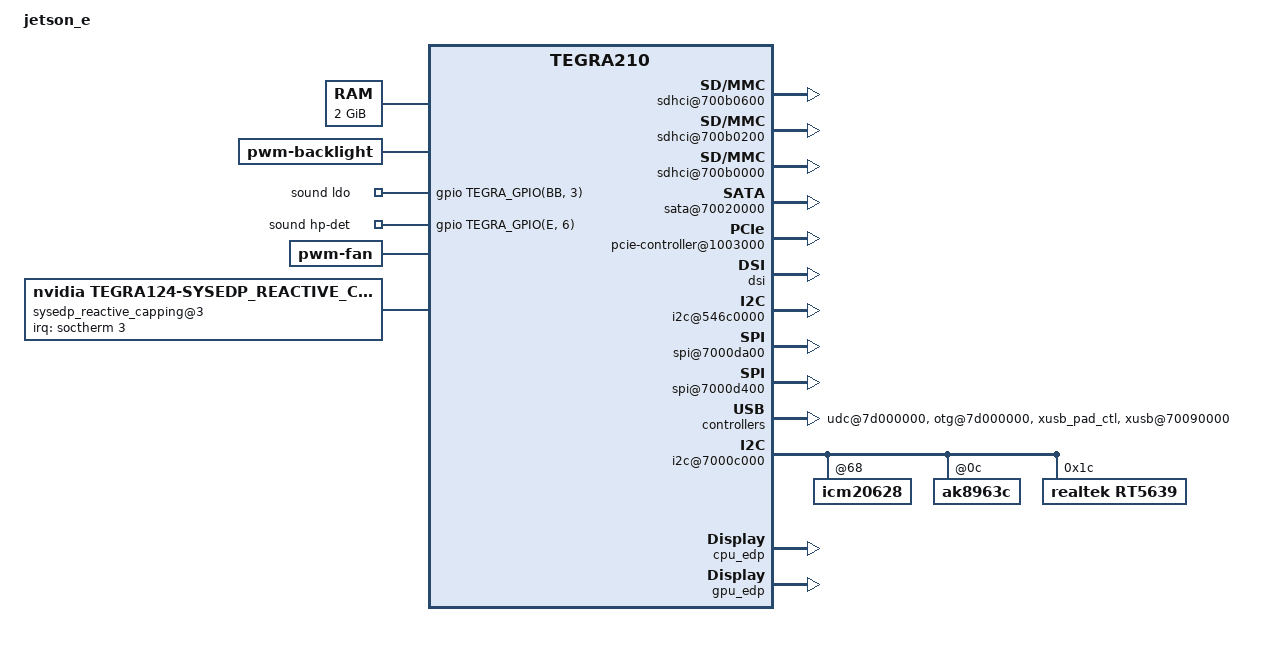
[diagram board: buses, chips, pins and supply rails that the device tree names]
/*
 * arch/arm64/boot/dts/tegra210-jetson-e-base-p2595-0000-a00.dts
 *
 * Copyright (c) 2014-2016, NVIDIA CORPORATION.  All rights reserved.
 *
 * This program is free software; you can redistribute it and/or modify
 * it under the terms of the GNU General Public License as published by
 * the Free Software Foundation; version 2 of the License.
 *
 * This program is distributed in the hope that it will be useful, but WITHOUT
 * ANY WARRANTY; without even the implied warranty of MERCHANTABILITY or
 * FITNESS FOR A PARTICULAR PURPOSE.  See the GNU General Public License for
 * more details.
 *
 */

/dts-v1/;

/memreserve/ 0x80000000 0x00020000;

#include "tegra210-jetson-common.dtsi"
#include "tegra210-platforms/tegra210-jetson-e-power-tree-p2530-0930-e03.dtsi"
#include "tegra210-platforms/tegra210-jetson-e-gpio-p2530-0930-e03.dtsi"
#include "tegra210-platforms/tegra210-pinmux-drive-sdmmc-common.dtsi"
#include "tegra210-platforms/tegra210-jetson-e-pinmux-p2530-0930-e03.dtsi"
#include "tegra210-platforms/tegra210-jetson-e-prods.dtsi"
#include "tegra210-platforms/tegra210-comms-p2530-0930.dtsi"
#include "tegra210-platforms/tegra210-jetson-e-camera-p2530-0930-e03.dtsi"
#include "tegra210-platforms/tegra210-pwm-fan-p2530-0930.dtsi"
#include "panel-s-wqxga-10-1.dtsi"
#include "panel-a-wuxga-8-0.dtsi"
#include "tegra210-platforms/tegra210-ers-hdmi-e2190-1100-a00.dtsi"
#include "tegra210-platforms/tegra210-loki-e-sensor-p2530-0032-e00.dtsi"
#include "tegra210-platforms/tegra210-sdhci.dtsi"
#include "tegra210-platforms/tegra210-p2530-common.dtsi"
#include "tegra210-platforms/tegra210-thermal-fan-est-p2530-0930.dtsi"
#include "tegra210-platforms/tegra210-keys-p2530-0930.dtsi"
#include "tegra210-platforms/tegra210-jetson-e-powermon-p2595-0000-a00.dtsi"
#include <dt-bindings/iio/meter/ina3221x.h>
#include "tegra210-platforms/tegra210-foster-e-extcon-p2530-0930-e01.dtsi"
#include "tegra210-platforms/tegra210-jetson-e-emc-p2530-e01.dtsi"
#include "tegra210-platforms/tegra210-edp.dtsi"
#include "tegra210-platforms/tegra210-sysedp.dtsi"
#include "tegra210-platforms/tegra210-audio.dtsi"
#include "tegra210-platforms/tegra210-thermal-nct72-p2530.dtsi"
#include "tegra210-platforms/tegra210-thermal-Tboard-Tdiode.dtsi"
#include "tegra210-platforms/tegra210-jetson-e-powermon-p2530-0930-e03.dtsi"
#include "tegra210-platforms/tegra210-therm-est.dtsi"
#include "tegra210-platforms/tegra210-jetson-cpufreq.dtsi"

/ {
	model = "jetson_e";
	compatible = "nvidia,jetson-e", "nvidia,tegra210";
	nvidia,dtsfilename = __FILE__;

	nvidia,boardids = "2595:0000:A0";
	nvidia,proc-boardid = "2595:0000:A0";
	nvidia,pmu-boardid = "2595:0000:A0";
	#address-cells = <2>;
	#size-cells = <2>;

	chosen {
	};

	pmc@7000e400 {
		nvidia,invert-interrupt;
		io-pad-defaults {
			audio-hv {
				nvidia,io-pad-init-voltage = <IO_PAD_VOLTAGE_1_8V>;
			};

			spi-hv {
				nvidia,io-pad-init-voltage = <IO_PAD_VOLTAGE_1_8V>;
			};

			sdmmc3 {
				nvidia,deep-power-down-enable;
				nvidia,enable-dynamic-pad-voltage;
			};
			sdmmc1 {
				nvidia,enable-dynamic-pad-voltage;
			};
		};
	};

	memory@80000000 {
		device_type = "memory";
		reg = < 0x0 0x80000000 0x0 0x80000000 >;
	};

	sdhci@700b0600 { /* SDMMC4 for EMMC */
		uhs-mask = <0x0>;
		built-in;
		power-off-rail;
		status = "okay";
	};

	sdhci@700b0200 { /* SDMMC2 for Wifi */
		uhs-mask = <0x8>;
		power-off-rail;
		status = "okay";
	};

	sdhci@700b0000 { /* SDMMC1 for uSD card */
		uhs-mask = <0xc>;
		power-off-rail;
		nvidia,update-pinctrl-settings;
		pinctrl-names = "sdmmc_schmitt_enable", "sdmmc_schmitt_disable", "sdmmc_clk_schmitt_enable", "sdmmc_clk_schmitt_disable", "sdmmc_drv_code", "sdmmc_default_drv_code";
		pinctrl-0 = <&sdmmc1_schmitt_enable_state>;
		pinctrl-1 = <&sdmmc1_schmitt_disable_state>;
		pinctrl-2 = <&sdmmc1_clk_schmitt_enable_state>;
		pinctrl-3 = <&sdmmc1_clk_schmitt_disable_state>;
		pinctrl-4 = <&sdmmc1_drv_code_1_8V>;
		pinctrl-5 = <&sdmmc1_default_drv_code_3_3V>;
		nvidia,sd-device;
		max-clk-limit = <180000000>;
		status = "okay";
	};

	adma@702e2000  {
		dma-channels = <10>;
		status = "okay";
	};

	ahub {
		i2s@702d1000 {
			pinctrl-names = "dap_active", "dap_inactive";
			pinctrl-0 = <>;
			pinctrl-1 = <>;
			regulator-supplies = "vdd-1v8-audio-hv", "vdd-1v8-audio-hv-bias";
			vdd-1v8-audio-hv-supply = <&max77620_sd3>;
			vdd-1v8-audio-hv-bias-supply = <&max77620_sd3>;
		};

		i2s@702d1300 {
			pinctrl-names = "dap_active", "dap_inactive";
			pinctrl-0 = <>;
			pinctrl-1 = <>;
			regulator-supplies = "vddio-dmic";
			vddio-dmic-supply = <&max77620_sd3>;
		};

		i2s@702d1100 {
			pinctrl-names = "dap_active", "dap_inactive";
			pinctrl-0 = <>;
			pinctrl-1 = <>;
			regulator-supplies = "vdd-1v8-spi-hv", "vdd-1v8-spi-hv-bias";
			vdd-1v8-spi-hv-supply = <&max77620_sd3>;
			vdd-1v8-spi-hv-bias-supply = <&max77620_sd3>;
			fsync-width = <0>;
		};
	};

	sata@70020000 {
		compatible = "nvidia,tegra210-ahci-sata";
		nvidia,enable-sata-port;
		status = "okay";
	};

	backlight {
		compatible = "pwm-backlight";
		status = "okay";
		panel-s-wqxga-10-1-bl {
			pwms = <&tegra_pwm 0 1000000>;
		};
		panel-a-wuxga-8-0-bl {
			pwms = <&tegra_pwm 0 40161>;
		};
	};

	camera-pcl {
		profiles {
			ov5693@2_0010 {
				use_of_node = "yes";
				dev_name = "ov5693";
				num = <0>;
				vana-supply = <&max77620_ldo3>;
				vif-supply = <&en_vdd_cam>;
				cam2-gpios = <&gpio CAM_PWDN_RQ 0>;
			};
			ad5823@2_000c {
				use_of_node = "yes";
				vdd-supply = <&max77620_ldo3>;
				vif-supply = <&en_vdd_cam>;
				af-pwdn-gpios = <&gpio CAM_PWDN_AF 0>;
			};
			ov5693@2_0036 {
				use_of_node = "yes";
				dev_name = "ov5693";
				num = <1>;
				vana-supply = <&max77620_ldo3>;
				vif-supply = <&en_vdd_cam>;
				cam2-gpios = <&gpio CAM_PWDN_FQ 0>;
			};

			ov10823@6_0020 {
				use_of_node = "yes";
				dev_name = "ov10823";
				num = <0>;
				cam,cam-change-i2c-addr;
				cam,cam-sids-high-to-low;
				cam,cam-skip-sw-reset;
				#cam,cam-i2c-recovery;
				cam,cam-use-osc-for-mclk;
				cam,cam-use-26mhz-mclk;
				default_i2c_sid_low = <OV10823_DEFAULT_I2C_ADDR_SID_LOW>;
				default_i2c_sid_high = <OV10823_DEFAULT_I2C_ADDR_SID_HIGH>;
				regw_sid_low = <OV10823_SENSOR_REG_RW_SID_LOW>;
				regw_sid_high = <OV10823_SENSOR_REG_RW_SID_HIGH>;
				cam1i2c_addr = <OV10823_I2C_ADDR_CAM1>;
				cam2i2c_addr = <OV10823_I2C_ADDR_CAM2>;
				cam3i2c_addr = <OV10823_I2C_ADDR_CAM3>;
				cam1sid-gpios = <&gpio TEGRA_GPIO(T, 1) 0>;
				cam2sid-gpios = <&gpio TEGRA_GPIO(S, 5) 0>;
				cam3sid-gpios = <&gpio TEGRA_GPIO(T, 0) 0>;
			};

			ov10823@6_0022 {
				use_of_node = "yes";
				dev_name = "ov10823";
				num = <1>;
				cam,cam-change-i2c-addr;
				cam,cam-sids-high-to-low;
				cam,cam-skip-sw-reset;
				#cam,cam-i2c-recovery;
				cam,cam-use-osc-for-mclk;
				cam,cam-use-26mhz-mclk;
				default_i2c_sid_low = <OV10823_DEFAULT_I2C_ADDR_SID_LOW>;
				default_i2c_sid_high = <OV10823_DEFAULT_I2C_ADDR_SID_HIGH>;
				regw_sid_low = <OV10823_SENSOR_REG_RW_SID_LOW>;
				regw_sid_high = <OV10823_SENSOR_REG_RW_SID_HIGH>;
				cam1i2c_addr = <OV10823_I2C_ADDR_CAM1>;
				cam2i2c_addr = <OV10823_I2C_ADDR_CAM2>;
				cam3i2c_addr = <OV10823_I2C_ADDR_CAM3>;
				cam1sid-gpios = <&gpio TEGRA_GPIO(T, 1) 0>;
				cam2sid-gpios = <&gpio TEGRA_GPIO(S, 5) 0>;
				cam3sid-gpios = <&gpio TEGRA_GPIO(T, 0) 0>;
			};

			ov10823@6_0024 {
				use_of_node = "yes";
				dev_name = "ov10823";
				num = <2>;
				cam,cam-change-i2c-addr;
				cam,cam-sids-high-to-low;
				cam,cam-skip-sw-reset;
				#cam,cam-i2c-recovery;
				cam,cam-use-osc-for-mclk;
				cam,cam-use-26mhz-mclk;
				default_i2c_sid_low = <OV10823_DEFAULT_I2C_ADDR_SID_LOW>;
				default_i2c_sid_high = <OV10823_DEFAULT_I2C_ADDR_SID_HIGH>;
				regw_sid_low = <OV10823_SENSOR_REG_RW_SID_LOW>;
				regw_sid_high = <OV10823_SENSOR_REG_RW_SID_HIGH>;
				cam1i2c_addr = <OV10823_I2C_ADDR_CAM1>;
				cam2i2c_addr = <OV10823_I2C_ADDR_CAM2>;
				cam3i2c_addr = <OV10823_I2C_ADDR_CAM3>;
				cam1sid-gpios = <&gpio TEGRA_GPIO(T, 1) 0>;
				cam2sid-gpios = <&gpio TEGRA_GPIO(S, 5) 0>;
				cam3sid-gpios = <&gpio TEGRA_GPIO(T, 0) 0>;
			};

		};
		dpd {
			default-enable;
		};
	};

	pcie-controller@1003000 {
		nvidia,wake-gpio = <&gpio TEGRA_GPIO(A, 2) 0>;
		nvidia,lane-map = <0x14>;
		dvdd-pex-pll-supply = <&max77620_ldo1>;
		l0-dvddio-pex-supply = <&max77620_ldo1>;
		l1-dvddio-pex-supply = <&max77620_ldo1>;
		l2-dvddio-pex-supply = <&max77620_ldo1>;
		l3-dvddio-pex-supply = <&max77620_ldo1>;
		l4-dvddio-pex-supply = <&max77620_ldo1>;
		l5-dvddio-pex-supply = <&max77620_ldo1>;
		l6-dvddio-pex-supply = <&max77620_ldo1>;
		hvdd-pex-pll-e-supply = <&max77620_sd3>;
		l0-hvddio-pex-supply = <&max77620_sd3>;
		l1-hvddio-pex-supply = <&max77620_sd3>;
		l2-hvddio-pex-supply = <&max77620_sd3>;
		l3-hvddio-pex-supply = <&max77620_sd3>;
		l4-hvddio-pex-supply = <&max77620_sd3>;
		l5-hvddio-pex-supply = <&max77620_sd3>;
		l6-hvddio-pex-supply = <&max77620_sd3>;
		vddio-pex-ctl-supply = <&max77620_sd3>;
		status = "okay";

		pci@1,0 {
			status = "okay";
		};

		pci@2,0 {
			status = "okay";
		};
	};

	host1x {
		/* tegradc.0 */
		dc@54200000 {
			status = "okay";
			nvidia,dc-flags = <TEGRA_DC_FLAG_ENABLED>;
			nvidia,emc-clk-rate = <300000000>;
			nvidia,fb-bpp = <32>; /* bits per pixel */
			nvidia,fb-flags = <TEGRA_FB_FLIP_ON_PROBE>;
		};

		/* tegradc.1 */
		dc@54240000 {
			status = "okay";
			nvidia,dc-flags = <TEGRA_DC_FLAG_ENABLED>;
			nvidia,emc-clk-rate = <300000000>;
			nvidia,cmu-enable = <1>;
			nvidia,fb-bpp = <32>; /* bits per pixel */
			nvidia,fb-flags = <TEGRA_FB_FLIP_ON_PROBE>;
		};

		dsi {
			nvidia,dsi-controller-vs = <DSI_VS_1>;
			status = "okay";
			panel-s-wqxga-10-1 {
				nvidia,panel-rst-gpio = <&gpio TEGRA_GPIO(V, 2) 0>; /* PV2 */
				nvidia,panel-bl-pwm-gpio = <&gpio TEGRA_GPIO(V, 0) 0>; /* PV0 */
				nvidia,dsi-te-gpio = <&gpio TEGRA_GPIO(Y, 2) 0>;
			};
			panel-a-wuxga-8-0 {
				nvidia,dsi-dpd-pads = <DSIC_DPD_EN DSID_DPD_EN>;
				nvidia,panel-rst-gpio = <&gpio TEGRA_GPIO(V, 2) 0>; /* PV2 */
				nvidia,panel-bl-pwm-gpio = <&gpio TEGRA_GPIO(V, 0) 0>; /* PV0 */
				disp-default-out {
					nvidia,out-flags = <TEGRA_DC_OUT_CONTINUOUS_MODE TEGRA_DC_OUT_INITIALIZED_MODE>;
				};
			};
		};

		i2c@546c0000 {
			status = "okay";
			avdd_dsi_csi-supply = <&max77620_gpio7>;
		};

		vi {
			status = "okay";
			avdd_dsi_csi-supply = <&max77620_gpio7>;
		};
	};

	spi@7000da00 {
		status = "ok";
	};

	spi@7000d400 {
		status = "okay";
	};

	sound {
		compatible = "nvidia,tegra-audio-t210ref-mobile-rt5639";
		nvidia,model = "tegra-snd-t210ref-mobile-rt5639";
		nvidia,ldo-gpios = <&gpio TEGRA_GPIO(BB, 3) GPIO_ACTIVE_HIGH>;
		nvidia,hp-det-gpios = <&gpio TEGRA_GPIO(E, 6) GPIO_ACTIVE_HIGH>;

		nvidia,num-codec-link = <3>;

		nvidia,audio-routing =
			"x Headphone Jack", 	"x HPOL",
			"x Headphone Jack", 	"x HPOR",
			"x Int Spk", 	"x SPORP",
			"x Int Spk", 	"x SPORN",
			"x Int Spk", 	"x SPOLP",
			"x Int Spk", 	"x SPOLN",
			"x micbias1",	"x Mic Jack",
			"x IN2P",		"x Mic Jack",
			"x IN2P",		"x Mic Jack",
			"x DMIC L1",	"x Int Mic",
			"x DMIC L2",	"x Int Mic",
			"x DMIC R1",	"x Int Mic",
			"x DMIC R2",	"x Int Mic",
			"y Headphone", 	"y OUT",
			"y IN",		"y Mic",
			"z IN",		"z OUT";

		nvidia,xbar = <&tegra_axbar>;

		nvidia,dai-link-1 {
			link-name = "rt5639-playback";
			cpu-dai = <&tegra_i2s1>;
			codec-dai = <&rt5639>;
			cpu-dai-name = "I2S1";
			codec-dai-name = "rt5639-aif1";
			format = "i2s";
			bitclock-slave;
			frame-slave;
			bitclock-noninversion;
			frame-noninversion;
			bit-format = "s16_le";
			bclk_ratio = <0>;
			srate = <48000>;
			num-channel = <2>;
			name-prefix = "x";
		};
		nvidia,dai-link-2 {
			link-name = "spdif-dit-1";
			cpu-dai = <&tegra_i2s2>;
			codec-dai = <&spdif_dit1>;
			cpu-dai-name = "I2S2";
			codec-dai-name = "dit-hifi";
			format = "dsp_a";
			bitclock-slave;
			frame-slave;
			bitclock-inversion;
			frame-inversion;
			bit-format = "s16_le";
			bclk_ratio = <4>;
			srate = <8000>;
			num-channel = <1>;
			name-prefix = "y";
		};
		nvidia,dai-link-3 {
			link-name = "spdif-dit-3";
			cpu-dai = <&tegra_i2s3>;
			codec-dai = <&spdif_dit3>;
			cpu-dai-name = "I2S3";
			codec-dai-name = "dit-hifi";
			format = "i2s";
			bitclock-slave;
			frame-slave;
			bitclock-noninversion;
			frame-noninversion;
			bit-format = "s16_le";
			bclk_ratio = <0>;
			srate = <48000>;
			num-channel = <2>;
			name-prefix = "z";
		};
	};

	adsp_audio {
		compr-ops = <1>;
		num-plugin = <4>;
		plugin-info-1 {
			plugin-name = "mp3-dec1";
			firmware-name = "nvmp3dec.elf";
			widget-name = "MP3-DEC1";
		};
		plugin-info-2 {
			plugin-name = "spkprot";
			firmware-name = "nvspkprot.elf";
			widget-name = "SPKPROT-SW";
		};
		plugin-info-3 {
			plugin-name = "src";
			firmware-name = "nvsrc.elf";
			widget-name = "SRC";
		};
		plugin-info-4 {
			plugin-name = "aac-dec1";
			firmware-name = "nvaacdec.elf";
			widget-name = "AAC-DEC1";
		};
	};

	extcon {
		extcon@0 {
			status = "disabled";
		};
	};

	udc@7d000000 {
		nvidia,port-otg;
		nvidia,charging-supported;
		#extcon-cells = <1>;
		status = "okay";
	};

        otg@7d000000 {
		#extcon-cells = <1>;
		status = "okay";
	};

	xusb_pad_ctl: xusb_padctl { /* Put common control config here */
		nvidia,lane-map = <0x14>;
		nvidia,enable-sata-port;
		nvidia,ss_ports = < TEGRA_XHCI_SS_P0 TEGRA_XHCI_USB2_P1 TEGRA_XHCI_LANE_6 TEGRA_XHCI_PORT_STD
				    TEGRA_XHCI_SS_P1 TEGRA_XHCI_USB2_P2 TEGRA_XHCI_LANE_5 TEGRA_XHCI_PORT_STD
				    TEGRA_XHCI_SS_P2 TEGRA_XHCI_USB2_P0 TEGRA_XHCI_UNUSED_LANE TEGRA_XHCI_PORT_OTG
				    TEGRA_XHCI_SS_P3 TEGRA_XHCI_UNUSED_PORT TEGRA_XHCI_UNUSED_LANE TEGRA_XHCI_PORT_STD>;
		status = "okay";
	};

	xusb@70090000 {
		/* nvidia,uses_external_pmic;
		/* nvidia,gpio_controls_muxed_ss_lanes; */
		nvidia,gpio_ss1_sata = <0>;
		nvidia,ulpicap = <0>; /* No ulpi support. can we remove */
		nvidia,portmap = <0x0e02>;
		nvidia,common_padctl = <&xusb_pad_ctl>;
		status = "okay";
	};

	xudc@700d0000 {
		nvidia,common_padctl = <&xusb_pad_ctl>;
		nvidia,portmap = <0x0108>;
		#extcon-cells = <1>;
		status = "disabled";
	};

	xotg {
		#extcon-cells = <1>;
		nvidia,common_padctl = <&xusb_pad_ctl>;
		status = "disabled";
	};

	gpio-keys {
		power {
			gpios = <&gpio TEGRA_GPIO(X, 7) GPIO_ACTIVE_LOW>;
		};

		sw_lid {
			status="disabled";
		};
	};

	gpu-dvfs-rework {
		status = "disabled";
	};

	regulators {
		vdd_fan: regulator@13 {
			enable-active-high;
		};
	};

	thermal-zones {
		AO-therm {
			status = "okay";
		};
	};

	pwm-fan {
		compatible = "pwm-fan";
		shared_data = <&pwm_fan_shared_data>;
		active_pwm = <0 80 120 160 255 255 255 255 255 255>;
	};

	i2c@7000c000 {
		icm20628@68 {
			accelerometer_matrix = [ff 00 00 00 ff 00 00 00 01];
			gyroscope_matrix = [ff 00 00 00 ff 00 00 00 01];
		};
		ak8963c@0c {
			magnetic_field_matrix = [00 ff 00 01 00 00 00 00 01];
		};
		rt5639: rt5639.0-001c@1c {
			compatible = "realtek,rt5639";
			reg = <0x1c>;
		};
	};

	sysedp {
		compatible = "nvidia,tegra124-sysedp";
		nvidia,margin = <0>;
		nvidia,min_budget = <0>;
		nvidia,initial_budget = <40000>;
	};

	sysedp_reactive_capping@3 {
		compatible = "nvidia,tegra124-sysedp_reactive_capping";
		nvidia,max_capping_mw = <15000>;
		nvidia,step_alarm_mw = <1000>;
		nvidia,step_relax_mw = <500>;
		nvidia,relax_ms = <250>;
		interrupt-parent = <&soctherm>;
		interrupts = <3 0x2002>;
		sysedpc {
			nvidia,name = "batmon_oc3";
		};
	};

	sysedp-dynamic-capping {
		compatible = "nvidia,tegra124-sysedp-dynamic-capping";
		nvidia,throttle_depth = <75>;
		nvidia,cap_method = <1>;
	};

	bcmdhd_wlan {
		edp-consumer-name = "primary-wifi";
	};

	cpu_edp {
		status = "okay";
		nvidia,edp_limit = <25000>;
	};

	gpu_edp {
		status = "okay";
		nvidia,edp_limit = <25000>;
	};

	soctherm@0x700E2000 {
		throttle@oc1 {
			device_type = "throttlectl";
			oc-alarm-id = <1>;
			priority = <50>;
			mode = "brief";
			intr;
			active_low;
			count_threshold = <100>;
			filter = <5100000>;
			throttle_dev = <&{/soctherm@0x700E2000/throttle_dev@cpu_medium}
					&{/soctherm@0x700E2000/throttle_dev@gpu_medium}>;
		};
		throttle@oc3 {
			device_type = "throttlectl";
			oc-alarm-id = <3>;
			priority = <50>;
			mode = "brief";
			intr;
			active_low;
			count_threshold = <15>;
			filter = <5100000>;
			throttle_dev = <&{/soctherm@0x700E2000/throttle_dev@cpu_medium}
					&{/soctherm@0x700E2000/throttle_dev@gpu_medium}>;
		};
		throttle_dev@cpu_medium {
			dividend = <63>;
			divisor = <255>;
			duration = <0>;
			step = <0>;
		};
		throttle_dev@gpu_medium {
			level = "medium_throttling";
		};
	};

	thermal-zones {
		CPU-therm {
			thermal-zone-params {
				governor-name = "pid_thermal_gov";
				max_err_temp = <9000>;
				max_err_gain = <1000>;
				gain_p = <1000>;
				gain_d = <0>;
				up_compensation = <20>;
				down_compensation = <20>;
			};
			trips {
				cpu_critical {
					temperature = <102500>;
					hysteresis = <0>;
					type = "critical";
					writable;
				};
				cpu_heavy {
					temperature = <98500>;
					hysteresis = <0>;
					type = "hot";
					writable;
				};
				cpu_throttle {
					temperature = <89000>;
					hysteresis = <0>;
					type = "passive";
					writable;
				};
			};
			cooling-maps {
				map0 {
					trip = <&{/thermal-zones/CPU-therm/trips/cpu_critical}>;
					cdev-type = "tegra-shutdown";
					cooling-device = <&{/soctherm@0x700E2000/throttle@critical}
						THERMAL_NO_LIMIT THERMAL_NO_LIMIT>;
				};
				map1 {
					trip = <&{/thermal-zones/CPU-therm/trips/cpu_heavy}>;
					cdev-type = "tegra-heavy";
					cooling-device = <&{/soctherm@0x700E2000/throttle@heavy}
						THERMAL_NO_LIMIT THERMAL_NO_LIMIT>;
				};
				map2 {
					trip = <&{/thermal-zones/CPU-therm/trips/cpu_throttle}>;
					cdev-type = "cpu-balanced";
					cooling-device = <&{/bthrot_cdev/cpu_balanced}
						THERMAL_NO_LIMIT THERMAL_NO_LIMIT>;
				};
			};
		};
		GPU-therm {
			thermal-zone-params {
				governor-name = "pid_thermal_gov";
				max_err_temp = <9000>;
				max_err_gain = <1000>;
				gain_p = <1000>;
				gain_d = <0>;
				up_compensation = <20>;
				down_compensation = <20>;
			};
			trips {
				gpu_critical {
					temperature = <103000>;
					hysteresis = <0>;
					type = "critical";
					writable;
				};
				gpu_heavy {
					temperature = <100000>;
					hysteresis = <0>;
					type = "hot";
					writable;
				};
				gpu_throttle {
					temperature = <90500>;
					hysteresis = <0>;
					type = "passive";
					writable;
				};
			};
			cooling-maps {
				map0 {
					trip = <&{/thermal-zones/GPU-therm/trips/gpu_critical}>;
					cdev-type = "tegra-shutdown";
					cooling-device = <&{/soctherm@0x700E2000/throttle@critical}
						THERMAL_NO_LIMIT THERMAL_NO_LIMIT>;
				};
				map1 {
					trip = <&{/thermal-zones/GPU-therm/trips/gpu_heavy}>;
					cdev-type = "tegra-heavy";
					cooling-device = <&{/soctherm@0x700E2000/throttle@heavy}
						THERMAL_NO_LIMIT THERMAL_NO_LIMIT>;
				};
				map2 {
					trip = <&{/thermal-zones/GPU-therm/trips/gpu_throttle}>;
					cdev-type = "gpu-balanced";
					cooling-device = <&{/bthrot_cdev/gpu_balanced}
						THERMAL_NO_LIMIT THERMAL_NO_LIMIT>;
				};
			};
		};
		LCPU-therm {
			thermal-zone-params {
				governor-name = "pid_thermal_gov";
				max_err_temp = <9000>;
				max_err_gain = <1000>;
				gain_p = <1000>;
				gain_d = <0>;
				up_compensation = <20>;
				down_compensation = <20>;
			};
			trips {
				lcpu_critical {
					temperature = <103000>; /* must be same as GPU's critical temp */
					hysteresis = <0>;
					type = "critical";
					writable;
				};
				lcpu_heavy {
					temperature = <101500>;
					hysteresis = <0>;
					type = "hot";
					writable;
				};
				lcpu_throttle {
					temperature = <92000>;
					hysteresis = <0>;
					type = "passive";
					writable;
				};
			};
			cooling-maps {
				map0 {
					trip = <&{/thermal-zones/LCPU-therm/trips/lcpu_critical}>;
					cdev-type = "tegra-shutdown";
					cooling-device = <&{/soctherm@0x700E2000/throttle@critical}
						THERMAL_NO_LIMIT THERMAL_NO_LIMIT>;
				};
				map1 {
					trip = <&{/thermal-zones/LCPU-therm/trips/lcpu_heavy}>;
					cdev-type = "tegra-heavy";
					cooling-device = <&{/soctherm@0x700E2000/throttle@heavy}
						THERMAL_NO_LIMIT THERMAL_NO_LIMIT>;
				};
				map2 {
					trip = <&{/thermal-zones/LCPU-therm/trips/lcpu_throttle}>;
					cdev-type = "cpu-balanced";
					cooling-device = <&{/bthrot_cdev/cpu_balanced}
						THERMAL_NO_LIMIT THERMAL_NO_LIMIT>;
				};
			};
		};
		PLL-therm {
			thermal-zone-params {
				governor-name = "pid_thermal_gov";
				max_err_temp = <9000>;
				max_err_gain = <1000>;
				gain_p = <1000>;
				gain_d = <0>;
				up_compensation = <20>;
				down_compensation = <20>;
			};
		};

		Tboard_tegra {
			status = "okay";
		};
		Tdiode_tegra {
			status = "okay";
		};
	};

	bcmdhd_wlan {
		fw_path = "/system/vendor/firmware/fw_bcmdhd.bin";
		nv_path = "/system/etc/nvram_jetsonE_cv_4354.txt";
		country_code_map {
			CC1 {
				iso_abbrev = "XR";
				custom_locale = "XR";
				custom_locale_rev = <122>;
			};
			CC27 {
				iso_abbrev = "IN";
				custom_locale = "Q2";
				custom_locale_rev = <998>;
			};
		};
	};

	serial@70006300 {
		dma-names = "tx";
	};
};
